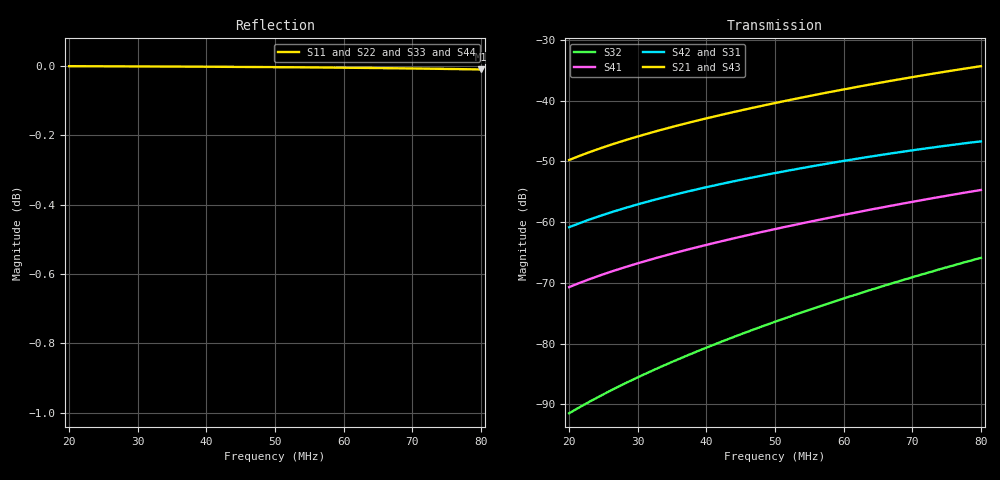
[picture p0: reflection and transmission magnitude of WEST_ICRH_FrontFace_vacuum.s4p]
! Touchstone file Exported from HFSS 2018.2.0
!  File:  E:/Julien/ICRH/WEST Antenna/Final Design/Front Face Coupling/WEST_ICRH_FrontFace.aedt
!  Generated:  3:37:23  mai 03, 2019
!  Design:  WEST-final-front-face
!  Project:  WEST_ICRH_FrontFace
!  Setup:  Setup1
!  Solution:  Sweep
!Data is not renormalized
# GHZ S MA
! Modal data exported
! Port[1] = 1:1
! Port[2] = 2:1
! Port[3] = 3:1
! Port[4] = 4:1
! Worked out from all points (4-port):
!   601 points, 20 MHz to 80 MHz, reference per port
!   strongest paths, dB at 20 MHz, 35 MHz, 50 MHz, 65 MHz, 80 MHz:
!     S21: -49.8, -44.3, -40.4, -37.1, -34.3
!     S43: -49.8, -44.3, -40.4, -37.1, -34.3
!     S42: -60.8, -55.6, -51.9, -49.0, -46.7
!     S31: -60.8, -55.6, -51.9, -49.0, -46.7
!     S41: -70.7, -65.2, -61.1, -57.7, -54.7
!     S32: -91.5, -83.0, -76.4, -70.8, -65.9
!   lowest |S11| = 0.0 dB at 80 MHz (marker M1)
!   |S11| at or under -10 dB: nowhere
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0.02  0.9998 158.6  0.003254 68.1  0.0009094 69.9  0.0002922 -114.6
      0.003254 68.1  0.9998 158.5  2.669e-05 -150.4  0.0009093 69.9
      0.0009094 69.9  2.669e-05 -150.4  0.9998 158.5  0.003253 68.1
      0.0002922 -114.6  0.0009093 69.9  0.003253 68.1  0.9998 158.6
0.0296  0.9998 147.8  0.005006 57.1  0.001382 59.8  0.0004516 -126.9
        0.005006 57.1  0.9998 147.6  5.152e-05 -171.0  0.001382 59.8
        0.001382 59.8  5.152e-05 -171.0  0.9998 147.6  0.005006 57.1
        0.0004516 -126.9  0.001382 59.8  0.005006 57.1  0.9998 147.8
0.0415  0.9996 133.5  0.007503 42.5  0.002028 46.5  0.0006823 -143.2
        0.007503 42.5  0.9996 133.3  0.0001002 167.5  0.002028 46.5
        0.002028 46.5  0.0001002 167.5  0.9996 133.3  0.007502 42.5
        0.0006823 -143.2  0.002028 46.5  0.007502 42.5  0.9996 133.5
0.0522  0.9995 119.4  0.01017 28.2  0.002679 33.5  0.0009336 -159.2
        0.01017 28.2  0.9995 119.2  0.0001675 149.6  0.002679 33.5
        0.002679 33.5  0.0001675 149.6  0.9995 119.2  0.01016 28.2
        0.0009336 -159.2  0.002679 33.5  0.01016 28.2  0.9995 119.4
0.063  0.9993 103.8  0.01334 12.3  0.003406 19.0  0.001241 -176.9
       0.01334 12.3  0.9993 103.5  0.0002667 131.5  0.003407 19.0
       0.003406 19.0  0.0002667 131.5  0.9993 103.5  0.01334 12.3
       0.001241 -176.9  0.003407 19.0  0.01334 12.3  0.9993 103.8
0.0718  0.999 89.7  0.01629 -2.0  0.004038 6.1  0.001535 167.3
        0.01629 -2.0  0.999 89.5  0.0003772 116.1  0.004039 6.1
        0.004038 6.1  0.0003772 116.1  0.999 89.5  0.01629 -2.0
        0.001535 167.3  0.004039 6.1  0.01629 -2.0  0.999 89.7
0.08  0.9988 75.4  0.01927 -16.5  0.004631 -6.9  0.001842 151.2
      0.01927 -16.5  0.9987 75.2  0.0005087 100.8  0.004633 -6.9
      0.004631 -6.9  0.0005087 100.8  0.9987 75.2  0.01927 -16.5
      0.001842 151.2  0.004633 -6.9  0.01927 -16.5  0.9988 75.4
